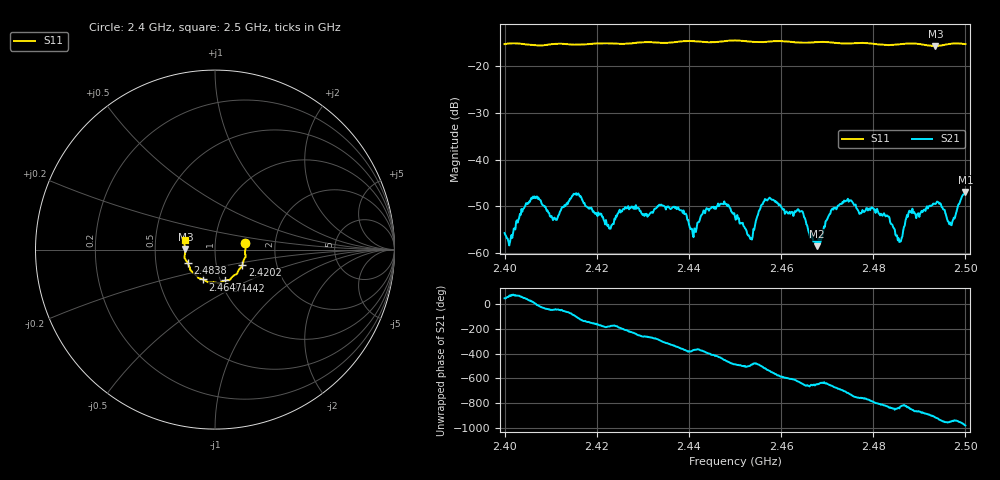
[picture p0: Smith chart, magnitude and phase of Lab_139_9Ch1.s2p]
# Hz S RI R 50
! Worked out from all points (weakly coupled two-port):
!   601 points, 2.4 GHz to 2.5 GHz, reference 50 ohm
!   highest |S21| = -46.91 dB at 2.5 GHz (marker M1); lowest = -58.6 dB at 2.4678 GHz (marker M2)
!   lowest |S11| = -15.6 dB at 2.4935 GHz (marker M3), VSWR 1.40, Z = 35.8 + j0.0931 ohm
!   |S11| at or under -10 dB: start of sweep to end of sweep
!   S12 and S22 are empty: the file has one direction only
!   S11 on the Smith chart (normalised r, x): 2.4 GHz: 1.40, +0.11; 2.4202 GHz: 1.34, -0.24; 2.4442 GHz: 1.06, -0.37; 2.4647 GHz: 0.83, -0.29; 2.4838 GHz: 0.73, -0.11; 2.5 GHz: 0.71, +0.08
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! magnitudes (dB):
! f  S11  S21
! 2.4 GHz  -15.2  -55.7
! 2.4062 GHz  -15.4  -47.9
! 2.4108 GHz  -15.2  -52.4
! 2.4167 GHz  -15.3  -48.2
! 2.4202 GHz  -15.1  -52.1
! 2.4333 GHz  -14.9  -50.0
! 2.441 GHz  -14.6  -56.6
! 2.4442 GHz  -14.8  -50.5
! 2.45 GHz  -14.4  -52.3
! 2.4533 GHz  -14.7  -57.0
! 2.457 GHz  -14.7  -48.8
! 2.4647 GHz  -14.9  -51.2
! 2.4667 GHz  -14.9  -56.7
! 2.4678 GHz  -14.8  -58.6
! 2.474 GHz  -15.1  -48.9
! 2.4833 GHz  -15.4  -52.2
! 2.4838 GHz  -15.4  -53.8
! 2.4858 GHz  -15.2  -57.6
! 2.488 GHz  -15.1  -51.2
! 2.4935 GHz  -15.6  -49.5
! 2.4968 GHz  -15.1  -54.0
! 2.5 GHz  -15.2  -46.9
